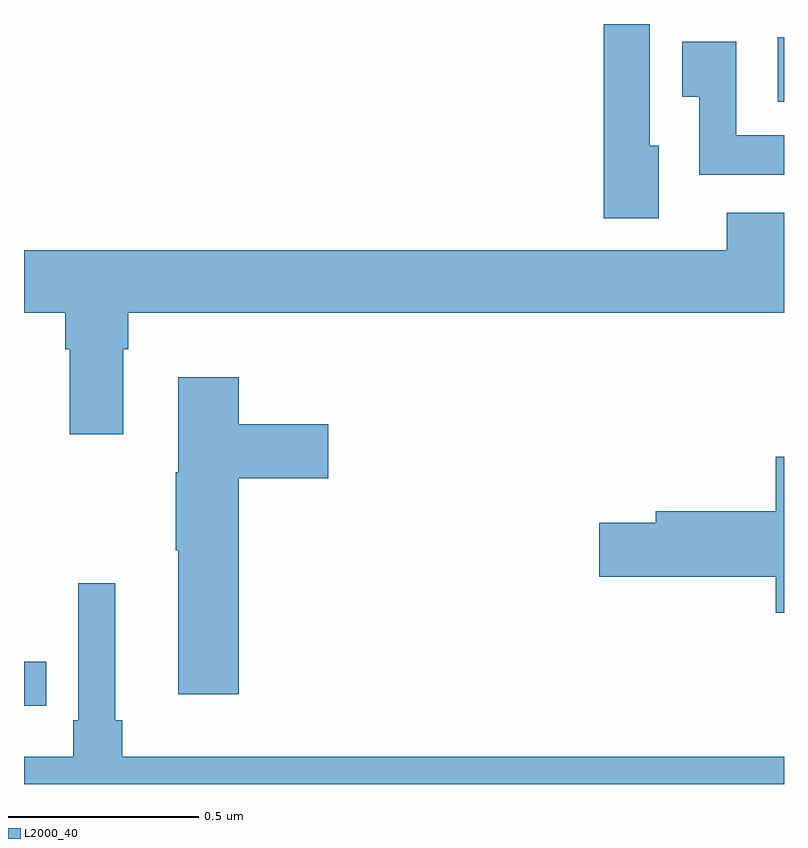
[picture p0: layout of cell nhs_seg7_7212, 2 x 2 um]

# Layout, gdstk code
import gdstk
lib = gdstk.Library(unit=1e-6, precision=1e-09)
def R(c, l, rs):  # rectangles x0, y0, x1, y1
    for r in rs: c.add(gdstk.rectangle(r[:2], r[2:], *l))
def P(c, l, *ps):  # polygons
    for p in ps: c.add(gdstk.Polygon(p, *l))
L2000_40 = (2000, 40)

nhs_seg7_7212 = lib.new_cell('nhs_seg7_7212')
R(nhs_seg7_7212, L2000_40, [(208,1042.206,208.058,1042.322), (209.984,1043.795,210,1043.965)])
P(nhs_seg7_7212, L2000_40, [(209.671,1043.679),(209.647,1043.679),(209.647,1044),(209.525,1044),(209.525,1043.489),(209.671,1043.489)],
  [(210,1043.707),(209.874,1043.707),(209.874,1043.953),(209.732,1043.953),(209.732,1043.809),(209.777,1043.809),(209.777,1043.603),(210,1043.603)],
  [(208.261,1043.144),(208.274,1043.144),(208.274,1043.24),(210,1043.24),(210,1043.503),(209.849,1043.503),(209.849,1043.404),(208,1043.404),(208,1043.24),(208.109,1043.24),(208.109,1043.144),(208.121,1043.144),(208.121,1042.92),(208.261,1042.92)],
  [(208.565,1042.805),(208.801,1042.805),(208.801,1042.947),(208.565,1042.947),(208.565,1043.071),(208.406,1043.071),(208.406,1042.821),(208.399,1042.821),(208.399,1042.615),(208.406,1042.615),(208.406,1042.236),(208.565,1042.236)],
  [(210,1042.861),(209.978,1042.861),(209.978,1042.718),(209.663,1042.718),(209.663,1042.688),(209.514,1042.688),(209.514,1042.546),(209.978,1042.546),(209.978,1042.451),(210,1042.451)],
  [(210,1042.072),(208.259,1042.072),(208.259,1042.168),(208.24,1042.168),(208.24,1042.528),(208.143,1042.528),(208.143,1042.168),(208.13,1042.168),(208.13,1042.072),(208,1042.072),(208,1042),(210,1042)])

lib.write_gds('nhs_seg7_7212.gds')
